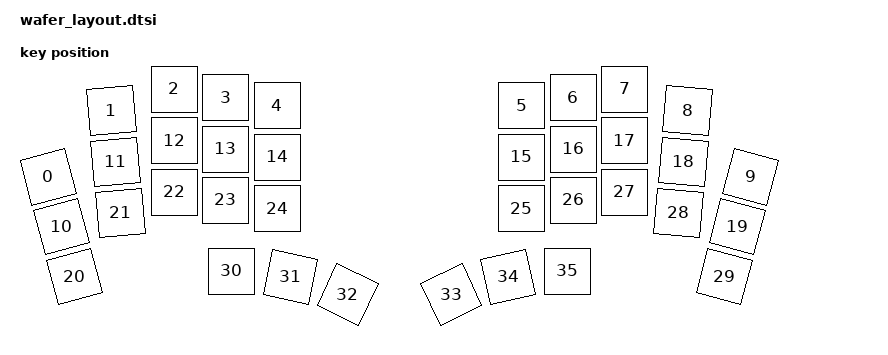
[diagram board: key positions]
#include <layouts/wafer/position_map.dtsi>
#include <physical_layouts.dtsi>

/ {
    wafer_layout_phys: wafer_layout_phys {
        compatible = "zmk,physical-layout";
        display-name = "Wafer Layout";

        kscan = <&kscan0>;
        transform = <&matrix_transform0>;

        keys  //                     w   h    x    y     rot    rx    ry
            = <&key_physical_attrs 100 100    0  176 (-1500)    50   226>
            , <&key_physical_attrs 100 100  126   43  (-500)   176    93>
            , <&key_physical_attrs 100 100  252    0       0     0     0>
            , <&key_physical_attrs 100 100  355   17       0     0     0>
            , <&key_physical_attrs 100 100  458   33       0     0     0>
            , <&key_physical_attrs 100 100  947   33       0     0     0>
            , <&key_physical_attrs 100 100 1050   17       0     0     0>
            , <&key_physical_attrs 100 100 1153    0       0     0     0>
            , <&key_physical_attrs 100 100 1279   43     500  1329    93>
            , <&key_physical_attrs 100 100 1405  176    1500  1455   226>
            , <&key_physical_attrs 100 100   27  275 (-1500)    77   325>
            , <&key_physical_attrs 100 100  135  146  (-500)   185   196>
            , <&key_physical_attrs 100 100  252  103       0     0     0>
            , <&key_physical_attrs 100 100  355  120       0     0     0>
            , <&key_physical_attrs 100 100  458  136       0     0     0>
            , <&key_physical_attrs 100 100  947  136       0     0     0>
            , <&key_physical_attrs 100 100 1050  120       0     0     0>
            , <&key_physical_attrs 100 100 1153  103       0     0     0>
            , <&key_physical_attrs 100 100 1270  146     500  1320   196>
            , <&key_physical_attrs 100 100 1378  275    1500  1428   325>
            , <&key_physical_attrs 100 100   53  375 (-1500)   103   425>
            , <&key_physical_attrs 100 100  144  248  (-500)   194   298>
            , <&key_physical_attrs 100 100  252  206       0     0     0>
            , <&key_physical_attrs 100 100  355  222       0     0     0>
            , <&key_physical_attrs 100 100  458  239       0     0     0>
            , <&key_physical_attrs 100 100  947  239       0     0     0>
            , <&key_physical_attrs 100 100 1050  222       0     0     0>
            , <&key_physical_attrs 100 100 1153  206       0     0     0>
            , <&key_physical_attrs 100 100 1261  248     500  1311   298>
            , <&key_physical_attrs 100 100 1352  375    1500  1402   425>
            , <&key_physical_attrs 100 100  367  364       0     0     0>
            , <&key_physical_attrs 100 100  485  376    1200   535   426>
            , <&key_physical_attrs 100 100  599  411    2500   649   461>
            , <&key_physical_attrs 100 100  806  411 (-2500)   856   461>
            , <&key_physical_attrs 100 100  920  376 (-1200)   970   426>
            , <&key_physical_attrs 100 100 1038  364       0     0     0>
            ;
    };
};
